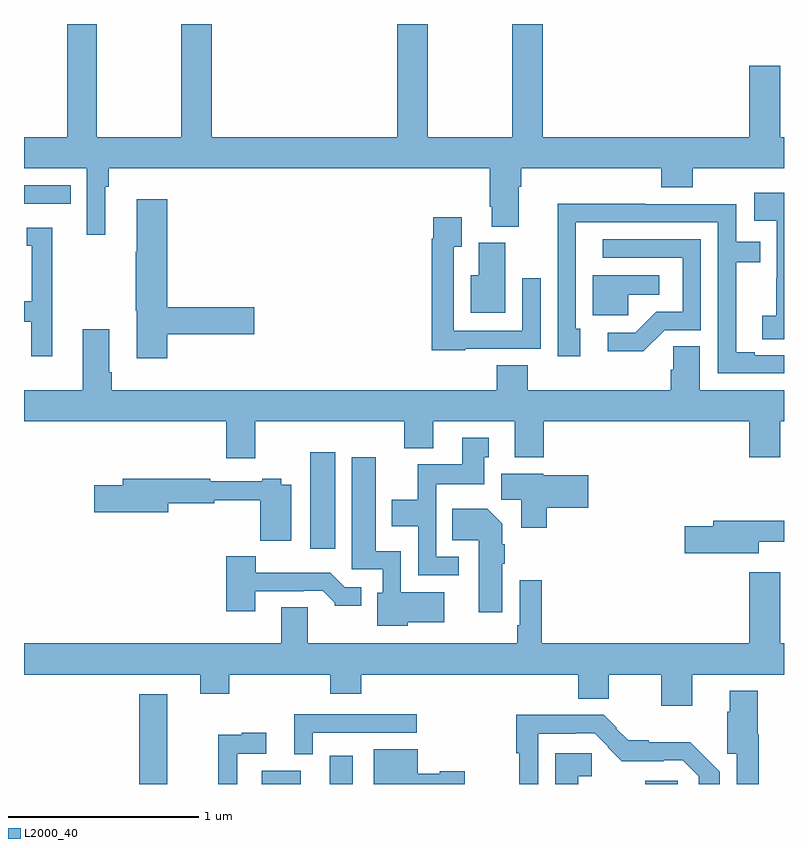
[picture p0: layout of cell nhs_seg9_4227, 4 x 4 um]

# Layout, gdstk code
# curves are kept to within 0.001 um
import gdstk
lib = gdstk.Library(unit=1e-6, precision=1e-09)
def R(c, l, rs):  # rectangles x0, y0, x1, y1
    for r in rs: c.add(gdstk.rectangle(r[:2], r[2:], *l))
def P(c, l, *ps):  # polygons
    for p in ps: c.add(gdstk.Polygon(p, *l))
L2000_40 = (2000, 40)

nhs_seg9_4227 = lib.new_cell('nhs_seg9_4227')
R(nhs_seg9_4227, L2000_40, [(353.606,1206.5,353.755,1206.973), (354.251,1206.5,354.457,1206.571), (354.608,1206.5,354.73,1206.649), (356.27,1206.5,356.44,1206.516), (354.506,1207.737,354.637,1208.245), (353,1209.555,353.246,1209.651)])
P(nhs_seg9_4227, L2000_40, [(353.331,1209.39),(353.428,1209.39),(353.428,1209.644),(353.447,1209.644),(353.447,1209.74),(355.451,1209.74),(355.451,1209.538),(355.463,1209.538),(355.463,1209.433),(355.603,1209.433),(355.603,1209.644),(355.616,1209.644),(355.616,1209.74),(356.354,1209.74),(356.354,1209.641),(356.519,1209.641),(356.519,1209.74),(357,1209.74),(357,1209.904),(356.98,1209.904),(356.98,1210.279),(356.816,1210.279),(356.816,1209.904),(355.73,1209.904),(355.73,1210.5),(355.57,1210.5),(355.57,1209.904),(355.125,1209.904),(355.125,1210.5),(354.965,1210.5),(354.965,1209.904),(353.987,1209.904),(353.987,1210.5),(353.827,1210.5),(353.827,1209.904),(353.382,1209.904),(353.382,1210.5),(353.227,1210.5),(353.227,1209.904),(353,1209.904),(353,1209.74),(353.331,1209.74)],
  [(357,1209.613),(356.844,1209.613),(356.844,1209.465),(356.961,1209.465),(356.961,1209.161),(356.96,1209.161),(356.96,1208.964),(356.886,1208.964),(356.886,1208.842),(357,1208.842)],
  [(353.753,1208.866),(354.211,1208.866),(354.211,1209.008),(353.753,1209.008),(353.753,1209.577),(353.594,1209.577),(353.594,1209.302),(353.587,1209.302),(353.587,1208.991),(353.594,1208.991),(353.594,1208.742),(353.753,1208.742)],
  [(357,1208.757),(356.845,1208.757),(356.845,1208.772),(356.749,1208.772),(356.749,1209.246),(356.876,1209.246),(356.876,1209.354),(356.748,1209.354),(356.748,1209.552),(356.27,1209.552),(356.27,1209.554),(355.808,1209.554),(355.808,1209.25),(355.809,1209.25),(355.809,1208.751),(355.927,1208.751),(355.927,1208.895),(355.905,1208.895),(355.905,1209.456),(356.652,1209.456),(356.652,1208.661),(357,1208.661)],
  [(355.323,1208.79),(355.719,1208.79),(355.719,1209.163),(355.623,1209.163),(355.623,1208.886),(355.263,1208.886),(355.263,1209.328),(355.303,1209.328),(355.303,1209.484),(355.155,1209.484),(355.155,1209.371),(355.147,1209.371),(355.147,1208.783),(355.323,1208.783)],
  [(353.149,1209.427),(353.015,1209.427),(353.015,1209.333),(353.04,1209.333),(353.04,1209.042),(353,1209.042),(353,1208.934),(353.039,1208.934),(353.039,1208.751),(353.149,1208.751)],
  [(356.373,1208.889),(356.562,1208.889),(356.562,1209.366),(356.046,1209.366),(356.046,1209.27),(356.466,1209.27),(356.466,1208.985),(356.328,1208.985),(356.217,1208.874),(356.073,1208.874),(356.073,1208.777),(356.26,1208.777)],
  [(355.534,1209.348),(355.394,1209.348),(355.394,1209.178),(355.352,1209.178),(355.352,1208.981),(355.534,1208.981)],
  [(356.181,1209.074),(356.344,1209.074),(356.344,1209.178),(355.994,1209.178),(355.994,1208.967),(356.181,1208.967)],
  [(354.217,1208.408),(355.001,1208.408),(355.001,1208.267),(355.153,1208.267),(355.153,1208.408),(355.583,1208.408),(355.583,1208.219),(355.736,1208.219),(355.736,1208.408),(356.816,1208.408),(356.816,1208.22),(356.98,1208.22),(356.98,1208.408),(357,1208.408),(357,1208.572),(356.557,1208.572),(356.557,1208.804),(356.418,1208.804),(356.418,1208.681),(356.405,1208.681),(356.405,1208.572),(355.652,1208.572),(355.652,1208.705),(355.487,1208.705),(355.487,1208.572),(353.462,1208.572),(353.462,1208.668),(353.449,1208.668),(353.449,1208.893),(353.309,1208.893),(353.309,1208.572),(353,1208.572),(353,1208.408),(354.065,1208.408),(354.065,1208.214),(354.217,1208.214)],
  [(355.288,1207.695),(355.17,1207.695),(355.17,1208.078),(355.423,1208.078),(355.423,1208.22),(355.447,1208.22),(355.447,1208.323),(355.307,1208.323),(355.307,1208.182),(355.072,1208.182),(355.072,1207.996),(354.935,1207.996),(354.935,1207.856),(355.074,1207.856),(355.074,1207.599),(355.288,1207.599)],
  [(355.02,1207.352),(355.213,1207.352),(355.213,1207.51),(354.984,1207.51),(354.984,1207.726),(354.85,1207.726),(354.85,1208.221),(354.725,1208.221),(354.725,1207.629),(354.888,1207.629),(354.888,1207.506),(354.86,1207.506),(354.86,1207.334),(355.02,1207.334)],
  [(355.751,1207.955),(355.969,1207.955),(355.969,1208.125),(355.734,1208.125),(355.734,1208.134),(355.511,1208.134),(355.511,1207.996),(355.616,1207.996),(355.616,1207.848),(355.751,1207.848)],
  [(354.406,1208.074),(354.354,1208.074),(354.354,1208.107),(354.254,1208.107),(354.254,1208.094),(353.981,1208.094),(353.981,1208.107),(353.519,1208.107),(353.519,1208.073),(353.37,1208.073),(353.37,1207.931),(353.758,1207.931),(353.758,1207.978),(354,1207.978),(354,1207.993),(354.244,1207.993),(354.244,1207.781),(354.406,1207.781)],
  [(355.516,1207.66),(355.529,1207.66),(355.529,1207.763),(355.516,1207.763),(355.516,1207.87),(355.438,1207.948),(355.255,1207.948),(355.255,1207.784),(355.394,1207.784),(355.394,1207.404),(355.516,1207.404)],
  [(356.866,1207.775),(357,1207.775),(357,1207.885),(356.627,1207.885),(356.627,1207.856),(356.478,1207.856),(356.478,1207.714),(356.866,1207.714)],
  [(354.217,1207.515),(354.473,1207.515),(354.473,1207.518),(354.572,1207.518),(354.636,1207.454),(354.636,1207.439),(354.775,1207.439),(354.775,1207.536),(354.687,1207.536),(354.611,1207.612),(354.22,1207.612),(354.22,1207.699),(354.065,1207.699),(354.065,1207.41),(354.217,1207.41)],
  [(356.518,1207.076),(357,1207.076),(357,1207.24),(356.98,1207.24),(356.98,1207.615),(356.816,1207.615),(356.816,1207.24),(355.724,1207.24),(355.724,1207.573),(355.608,1207.573),(355.608,1207.336),(355.596,1207.336),(355.596,1207.24),(354.493,1207.24),(354.493,1207.43),(354.353,1207.43),(354.353,1207.24),(353,1207.24),(353,1207.076),(353.927,1207.076),(353.927,1206.974),(354.08,1206.974),(354.08,1207.076),(354.611,1207.076),(354.611,1206.974),(354.776,1206.974),(354.776,1207.076),(355.916,1207.076),(355.916,1206.95),(356.077,1206.95),(356.077,1207.076),(356.354,1207.076),(356.354,1206.912),(356.518,1206.912)],
  [(356.867,1206.763),(356.861,1206.763),(356.861,1206.991),(356.714,1206.991),(356.714,1206.881),(356.702,1206.881),(356.702,1206.66),(356.751,1206.66),(356.751,1206.5),(356.867,1206.5)],
  [(354.519,1206.771),(355.066,1206.771),(355.066,1206.867),(354.422,1206.867),(354.422,1206.656),(354.519,1206.656)],
  [(355.707,1206.764),(355.904,1206.764),(355.904,1206.768),(356.004,1206.768),(356.076,1206.696),(356.073,1206.693),(356.147,1206.62),(356.366,1206.62),(356.366,1206.624),(356.466,1206.624),(356.55,1206.54),(356.55,1206.5),(356.662,1206.5),(356.662,1206.564),(356.507,1206.721),(356.287,1206.721),(356.287,1206.729),(356.179,1206.729),(356.117,1206.791),(356.121,1206.795),(356.051,1206.865),(355.591,1206.865),(355.591,1206.661),(355.606,1206.661),(355.606,1206.5),(355.707,1206.5)],
  [(354.123,1206.66),(354.274,1206.66),(354.274,1206.769),(354.146,1206.769),(354.146,1206.758),(354.022,1206.758),(354.022,1206.5),(354.123,1206.5)],
  [(355.321,1206.566),(355.188,1206.566),(355.188,1206.553),(355.072,1206.553),(355.072,1206.682),(354.842,1206.682),(354.842,1206.5),(355.321,1206.5)],
  [(355.918,1206.542),(355.987,1206.542),(355.987,1206.662),(355.796,1206.662),(355.796,1206.5),(355.918,1206.5)])

lib.write_gds('nhs_seg9_4227.gds')
